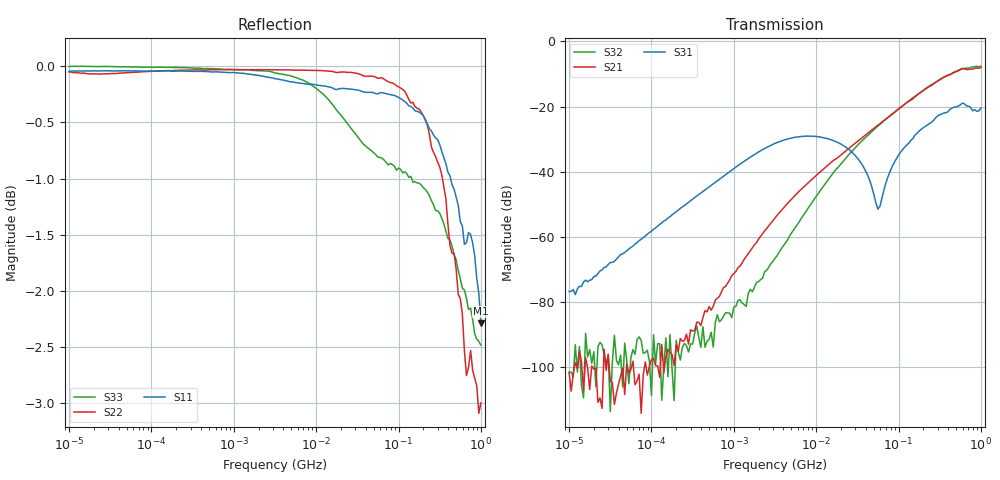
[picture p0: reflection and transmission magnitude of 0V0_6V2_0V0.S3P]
!Keysight Technologies,E5080A,MY55100144,A.11.70.03
!Date: Monday, November 13, 2017 17:25:53
!Correction: S11(Full 3 Port(1,2,3))
!S12(Full 3 Port(1,2,3))
!S13(Full 3 Port(1,2,3))
!S21(Full 3 Port(1,2,3))
!S22(Full 3 Port(1,2,3))
!S23(Full 3 Port(1,2,3))
!S31(Full 3 Port(1,2,3))
!S32(Full 3 Port(1,2,3))
!S33(Full 3 Port(1,2,3))
!S3P File: Measurements: <S11,S12,S13>,
!<S21,S22,S23>,
!<S31,S32,S33>:Log Frequency Sweep
# Hz S  RI  R 50
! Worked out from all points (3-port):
!   201 points, 10 kHz to 1 GHz, reference 50 ohm
!   strongest paths, dB at 10 kHz, 177.8 kHz, 3.162 MHz, 56.23 MHz, 1 GHz:
!     S31: -76.7, -53.2, -31.3, -51.5, -20.5
!     S21: -101.7, -96.1, -54.2, -25.7, -8.0
!     S32: -101.4, -100.6, -66.5, -26.0, -7.6
!   lowest |S11| = -2.3 dB at 1 GHz (marker M1), VSWR 7.64, Z = 382 - j1.11 ohm
!   |S11| at or under -10 dB: nowhere
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10000  0.9949 -0.00557  3.23e-06 -1.13e-05  9.66e-06 0.000114
       -7.38e-06 3.54e-06  0.4707 -0.8757  -8.21e-06 -9.11e-06
       7.7e-06 0.000146  7.39e-06 -4.17e-06  0.9997 -0.00229
50118.72  0.9949 -0.0272  2.48e-05 1.1e-05  -1.29e-05 0.000611
          -1.14e-05 5.33e-07  -0.7916 -0.6001  3.45e-06 -3.86e-06
          8.96e-06 0.000614  1.26e-05 1.53e-06  0.9994 -0.00559
630957.3  0.9378 -0.3305  -8.06e-05 5.86e-05  0.0017 0.00709
          -9.46e-05 6.53e-05  -0.9952 -0.0506  -1.13e-05 4.56e-05
          0.00171 0.00711  -1.87e-05 6.12e-05  0.9954 -0.0607
3162278  0.1482 -0.9762  -0.00134 0.00144  0.0207 0.0176
         -0.00133 0.00144  -0.9964 0.00461  -0.000412 0.000222
         0.0209 0.0175  -0.000409 0.000233  0.9501 -0.2891
2.238721e7  -0.9457 -0.2472  -0.00112 0.0203  0.0189 -0.0152
            -0.00105 0.0204  -0.9887 0.1042  -0.00898 0.0128
            0.019 -0.0152  -0.00889 0.0129  -0.076 -0.9431
5.623413e7  -0.9708 0.051  0.0088 0.0511  0.0027 2.48e-05
            0.00879 0.0511  -0.9533 0.2587  -0.0054 0.0499
            0.00266 3.81e-05  -0.0054 0.0499  -0.761 -0.5008
1.059254e8  -0.9336 0.2537  0.0375 0.0895  0.00782 0.0184
            0.0375 0.0896  -0.8607 0.4644  0.023 0.0945
            0.00777 0.0184  0.0229 0.0945  -0.8952 -0.0911
3.758374e8  -0.3693 0.8263  0.29 0.0335  0.0806 -0.00603
            0.2902 0.0334  0.0975 0.8676  0.2901 0.0576
            0.0805 -0.00594  0.29 0.0577  -0.4866 0.6901
7.079458e8  0.4628 0.705  0.2003 -0.313  0.0115 -0.1008
            0.2001 -0.3133  0.6989 0.2261  0.2458 -0.303
            0.0115 -0.1008  0.2461 -0.3027  0.2568 0.7358
1e9  0.7685 -0.000594  -0.1 -0.3847  -0.0575 -0.0755
     -0.1005 -0.3847  0.5906 -0.3907  -0.0459 -0.4147
     -0.0575 -0.0755  -0.0455 -0.4148  0.6829 0.3132
